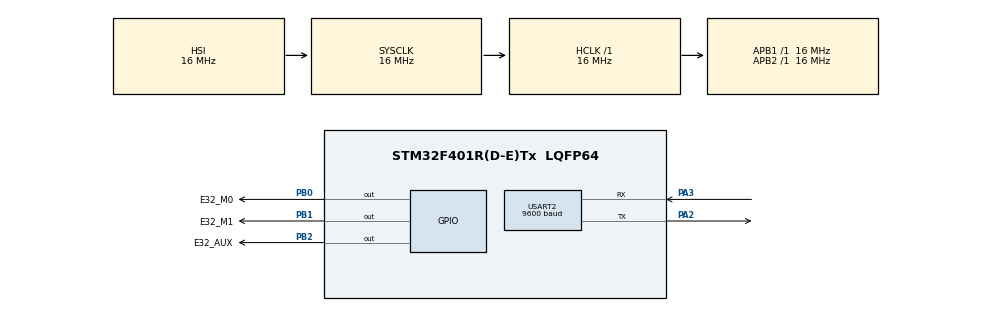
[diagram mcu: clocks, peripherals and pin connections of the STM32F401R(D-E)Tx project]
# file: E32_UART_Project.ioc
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Mcu.Family=STM32F4
Mcu.Name=STM32F401R(D-E)Tx
Mcu.Package=LQFP64
NVIC.PriorityGroup=NVIC_PRIORITYGROUP_4
PA2.Mode=Asynchronous
PA2.Signal=USART2_TX
PA3.Mode=Asynchronous
PA3.Signal=USART2_RX
PB0.GPIO_Label=E32_M0
PB0.Signal=GPIO_Output
PB1.GPIO_Label=E32_M1
PB1.Signal=GPIO_Output
PB2.GPIO_Label=E32_AUX
PB2.Signal=GPIO_Output
ProjectManager.HeapSize=0x200
ProjectManager.StackSize=0x400
ProjectManager.TargetToolchain=STM32CubeIDE
RCC.AHBFreq_Value=16000000
RCC.APB1Freq_Value=16000000
RCC.APB2Freq_Value=16000000
RCC.CortexFreq_Value=16000000
RCC.HSE_VALUE=25000000
RCC.HSI_VALUE=16000000
RCC.LSE_VALUE=32768
RCC.SYSCLKFreq_VALUE=16000000
RCC.VCOOutputFreq_Value=192000000
USART2.BaudRate=9600
USART2.VirtualMode=VM_ASYNC
board=custom

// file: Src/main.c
/* USER CODE BEGIN Header */
/**
  ******************************************************************************
  * @file           : main.c
  * @brief          : Main program body
  ******************************************************************************
  * @attention
  *
  * Copyright (c) 2025 STMicroelectronics.
  * All rights reserved.
  *
  * This software is licensed under terms that can be found in the LICENSE file
  * in the root directory of this software component.
  * If no LICENSE file comes with this software, it is provided AS-IS.
  *
  ******************************************************************************
  */
/* USER CODE END Header */

#include "main.h"
#include "e32.h"
#include <string.h>
#include <stdio.h>

UART_HandleTypeDef huart2;

void SystemClock_Config(void);
static void MX_GPIO_Init(void);
static void MX_USART2_UART_Init(void);

/* USER CODE BEGIN 0 */
// Redirect printf to UART2 (VCP to PC)
int __io_putchar(int ch)
{
  HAL_UART_Transmit(&huart2, (uint8_t *)&ch, 1, HAL_MAX_DELAY);
  return ch;
}
/* USER CODE END 0 */

int main(void)
{
  /* Reset of all peripherals, Initializes the Flash interface and the Systick. */
  HAL_Init();
  SystemClock_Config();
  MX_GPIO_Init();
  MX_USART2_UART_Init();

  /* USER CODE BEGIN 2 */
  uint8_t rx_buf[32] = {0};

  // Init E32 and set TX power
  E32_Init();
  E32_SetMode(E32_MODE_SLEEP);               // Enter AT/config mode

  uint8_t set_cmd[] = "AT+POWER=3\r\n";       // Set TX power to 21 dBm
  E32_SendBytes(set_cmd, sizeof(set_cmd)-1, 1000);

  // Query the power setting
  uint8_t query_cmd[] = "AT+POWER=?\r\n";
  E32_SendBytes(query_cmd, sizeof(query_cmd)-1, 1000);

  // Read reply from module
  if (E32_ReceiveBytes(rx_buf, sizeof(rx_buf)-1, 1000) == HAL_OK)
  {
    rx_buf[sizeof(rx_buf)-1] = '\0';  // Null terminate
    printf("Module replied: %s\r\n", rx_buf);
  }
  else
  {
    printf("No reply from module.\r\n");
  }

  E32_SetMode(E32_MODE_NORMAL);               // Back to normal mode
  /* USER CODE END 2 */

  /* Infinite loop */
  while (1)
  {
    /* USER CODE BEGIN WHILE */
    HAL_Delay(1000);
    /* USER CODE END WHILE */
  }
}

/* System Clock Configuration */
void SystemClock_Config(void)
{
  RCC_OscInitTypeDef RCC_OscInitStruct = {0};
  RCC_ClkInitTypeDef RCC_ClkInitStruct = {0};

  __HAL_RCC_PWR_CLK_ENABLE();
  __HAL_PWR_VOLTAGESCALING_CONFIG(PWR_REGULATOR_VOLTAGE_SCALE2);

  RCC_OscInitStruct.OscillatorType = RCC_OSCILLATORTYPE_HSI;
  RCC_OscInitStruct.HSIState = RCC_HSI_ON;
  RCC_OscInitStruct.HSICalibrationValue = RCC_HSICALIBRATION_DEFAULT;
  RCC_OscInitStruct.PLL.PLLState = RCC_PLL_NONE;
  if (HAL_RCC_OscConfig(&RCC_OscInitStruct) != HAL_OK)
  {
    Error_Handler();
  }

  RCC_ClkInitStruct.ClockType = RCC_CLOCKTYPE_HCLK|RCC_CLOCKTYPE_SYSCLK
                              |RCC_CLOCKTYPE_PCLK1|RCC_CLOCKTYPE_PCLK2;
  RCC_ClkInitStruct.SYSCLKSource = RCC_SYSCLKSOURCE_HSI;
  RCC_ClkInitStruct.AHBCLKDivider = RCC_SYSCLK_DIV1;
  RCC_ClkInitStruct.APB1CLKDivider = RCC_HCLK_DIV1;
  RCC_ClkInitStruct.APB2CLKDivider = RCC_HCLK_DIV1;

  if (HAL_RCC_ClockConfig(&RCC_ClkInitStruct, FLASH_LATENCY_0) != HAL_OK)
  {
    Error_Handler();
  }
}

/* USART2 init function */
static void MX_USART2_UART_Init(void)
{
  huart2.Instance = USART2;
  huart2.Init.BaudRate = 9600;  // Match module's UART baud rate
  huart2.Init.WordLength = UART_WORDLENGTH_8B;
  huart2.Init.StopBits = UART_STOPBITS_1;
  huart2.Init.Parity = UART_PARITY_NONE;
  huart2.Init.Mode = UART_MODE_TX_RX;
  huart2.Init.HwFlowCtl = UART_HWCONTROL_NONE;
  huart2.Init.OverSampling = UART_OVERSAMPLING_16;
  if (HAL_UART_Init(&huart2) != HAL_OK)
  {
    Error_Handler();
  }
}

/* GPIO init function */
static void MX_GPIO_Init(void)
{
  GPIO_InitTypeDef GPIO_InitStruct = {0};

  __HAL_RCC_GPIOA_CLK_ENABLE();
  __HAL_RCC_GPIOB_CLK_ENABLE();

  // M0 & M1 outputs, AUX input
  HAL_GPIO_WritePin(GPIOB, E32_M0_Pin|E32_M1_Pin, GPIO_PIN_RESET);

  GPIO_InitStruct.Pin = E32_M0_Pin|E32_M1_Pin;
  GPIO_InitStruct.Mode = GPIO_MODE_OUTPUT_PP;
  GPIO_InitStruct.Pull = GPIO_NOPULL;
  GPIO_InitStruct.Speed = GPIO_SPEED_FREQ_LOW;
  HAL_GPIO_Init(GPIOB, &GPIO_InitStruct);

  GPIO_InitStruct.Pin = E32_AUX_Pin;
  GPIO_InitStruct.Mode = GPIO_MODE_INPUT;
  GPIO_InitStruct.Pull = GPIO_PULLUP;
  HAL_GPIO_Init(GPIOB, &GPIO_InitStruct);
}

void Error_Handler(void)
{
  __disable_irq();
  while (1) {}
}
